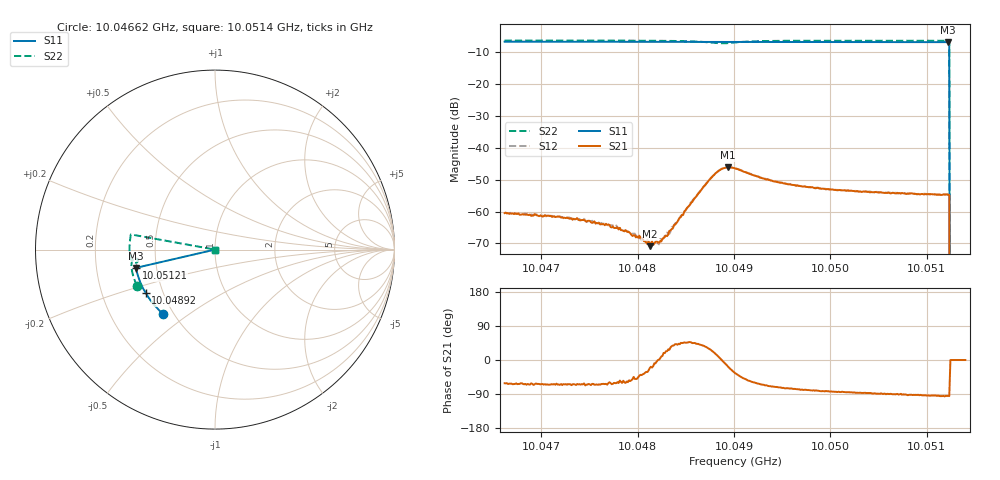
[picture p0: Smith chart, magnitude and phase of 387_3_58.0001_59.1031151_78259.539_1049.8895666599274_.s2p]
#  HZ  S  RI  R  50.00
! Rohde & Schwarz Vector Network Analyzer
! Rohde-Schwarz,ZNB20-2Port,1311601062101988,3.16
! Created: UTC 3/21/2024, 1:07:41 AM
! freq[Hz]  re:S11  im:S11  re:S21  im:S21  re:S12  im:S12  re:S22  im:S22
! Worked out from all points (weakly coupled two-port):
!   401 points, 10.04662 GHz to 10.0514 GHz, reference 50 ohm
!   highest |S21| = -46.11 dB at 10.04894 GHz (marker M1); lowest = -70.9 dB at 10.04813 GHz (marker M2)
!   lowest |S11| = -6.9 dB at 10.05122 GHz (marker M3), VSWR 2.65, Z = 19.1 - j4.92 ohm
!   |S11| at or under -10 dB: 10.05123 GHz to end of sweep
!   |S22| runs from - to -6.4 dB; largest |S21 - S12| = 0.00035
!   S11 on the Smith chart (normalised r, x): 10.04662 GHz: 0.44, -0.40; 10.04892 GHz: 0.40, -0.25; 10.05121 GHz: 0.38, -0.10; 10.0514 GHz: 1.00, +0.00
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1.0046621e10  -0.2893 -0.3582  0.000452 -0.000829  0.000514 -0.000819  -0.4361 -0.202
1.0047063e10  -0.3107 -0.3383  0.000371 -0.000775  0.000441 -0.000773  -0.4469 -0.1745
1.0047422e10  -0.3272 -0.3213  0.000324 -0.000659  0.000348 -0.000663  -0.4546 -0.151
1.0047696e10  -0.3393 -0.3079  0.000303 -0.000548  0.00031 -0.00052  -0.4596 -0.1326
1.0047899e10  -0.3478 -0.2975  0.00025 -0.000408  0.000335 -0.000361  -0.4624 -0.1179
1.0048067e10  -0.3547 -0.2887  0.000277 -0.000203  0.000287 -0.000187  -0.4645 -0.1056
1.0048126e10  -0.3571 -0.2857  0.000266 -0.000104  0.000308 -0.000111  -0.465 -0.1012
1.0048174e10  -0.3589 -0.2832  0.000313 -4.8e-05  0.000311 -3.87e-05  -0.4654 -0.0974
1.0048222e10  -0.3608 -0.2806  0.000323 3.64e-06  0.000303 4.06e-05  -0.4656 -0.0935
1.004833e10  -0.3649 -0.2749  0.000443 0.000224  0.000373 0.000244  -0.4657 -0.0844
1.004876e10  -0.3803 -0.2512  0.00297 0.0015  0.00291 0.00168  -0.443 -0.0484
1.0048843e10  -0.3829 -0.2464  0.00433 0.000571  0.00431 0.000835  -0.4317 -0.0536
1.0048915e10  -0.3854 -0.2426  0.00477 -0.000957  0.00488 -0.000692  -0.4299 -0.0646
1.0048939e10  -0.3861 -0.2414  0.00472 -0.00148  0.00482 -0.00123  -0.4316 -0.068
1.0049011e10  -0.3887 -0.2373  0.0039 -0.00267  0.00412 -0.00245  -0.4412 -0.0734
1.0049405e10  -0.4012 -0.2146  0.00102 -0.0028  0.0012 -0.00281  -0.4707 -0.0452
1.0049811e10  -0.4125 -0.1904  0.000396 -0.00238  0.00054 -0.00234  -0.4759 -0.0131
1.0050612e10  -0.4305 -0.1412  1.62e-06 -0.00195  0.0001 -0.00198  -0.4747 0.0431
1.0051209e10  -0.4403 -0.1034  -0.000157 -0.00185  -6.79e-05 -0.00185  -0.4691 0.083
1.0051221e10  -0.4404 -0.1025  -0.000146 -0.00183  -6.62e-05 -0.00182  -0.4689 0.0838
1.0051269e10  0 0  0 0  0 0  0 0
1.00514e10  0 0  0 0  0 0  0 0
